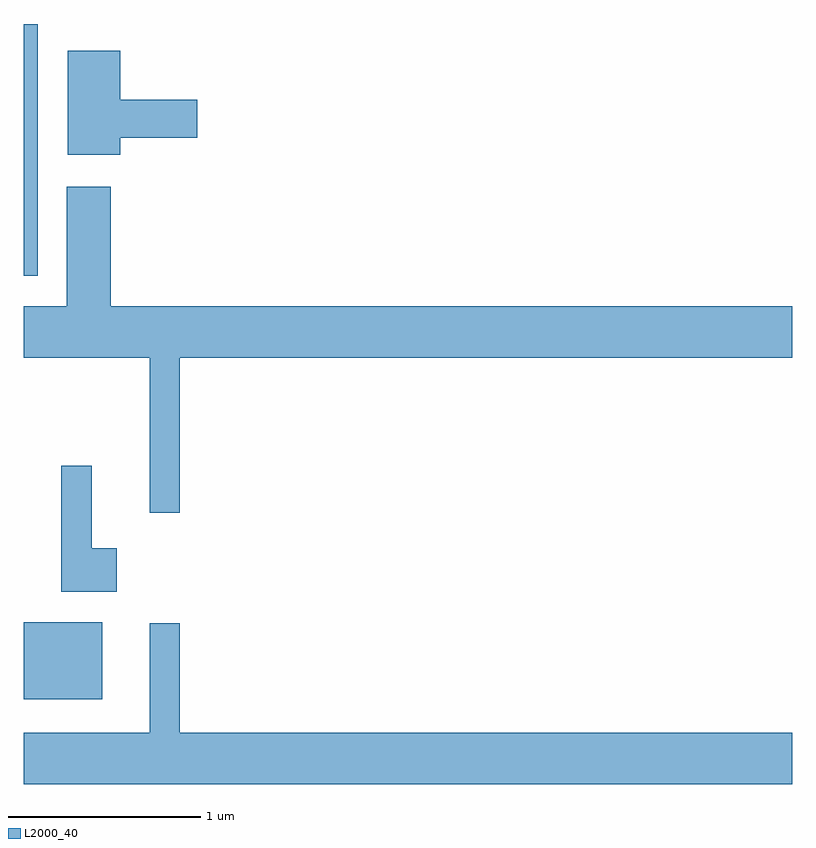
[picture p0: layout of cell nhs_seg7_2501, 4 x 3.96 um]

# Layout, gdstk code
import gdstk
lib = gdstk.Library(unit=1e-6, precision=1e-09)
def R(c, l, rs):  # rectangles x0, y0, x1, y1
    for r in rs: c.add(gdstk.rectangle(r[:2], r[2:], *l))
def P(c, l, *ps):  # polygons
    for p in ps: c.add(gdstk.Polygon(p, *l))
L2000_40 = (2000, 40)

nhs_seg7_2501 = lib.new_cell('nhs_seg7_2501')
R(nhs_seg7_2501, L2000_40, [(261.611,1734.736,262.019,1735.139), (261.611,1736.941,261.684,1738.252)])
P(nhs_seg7_2501, L2000_40, [(262.114,1737.661),(262.514,1737.661),(262.514,1737.859),(262.114,1737.859),(262.114,1738.114),(261.841,1738.114),(261.841,1737.571),(262.114,1737.571)],
  [(262.424,1736.516),(265.611,1736.516),(265.611,1736.784),(262.064,1736.784),(262.064,1737.404),(261.836,1737.404),(261.836,1736.784),(261.611,1736.784),(261.611,1736.516),(262.266,1736.516),(262.266,1735.708),(262.424,1735.708)],
  [(262.094,1735.524),(261.964,1735.524),(261.964,1735.953),(261.806,1735.953),(261.806,1735.296),(262.094,1735.296)],
  [(265.611,1734.564),(262.424,1734.564),(262.424,1735.133),(262.266,1735.133),(262.266,1734.564),(261.611,1734.564),(261.611,1734.296),(265.611,1734.296)])

lib.write_gds('nhs_seg7_2501.gds')
